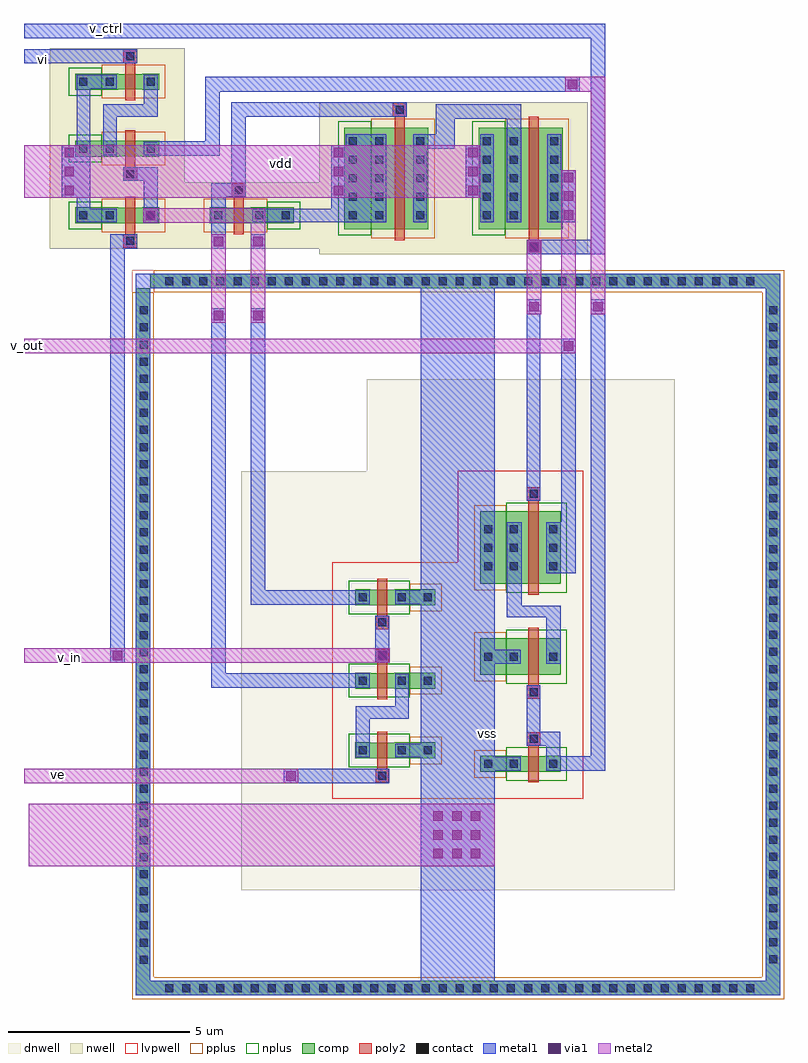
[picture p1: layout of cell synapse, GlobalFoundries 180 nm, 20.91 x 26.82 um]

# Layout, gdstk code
from math import pi, radians
import gdstk
lib = gdstk.Library(unit=1e-6, precision=5e-09)
def R(c, l, rs):  # rectangles x0, y0, x1, y1
    for r in rs: c.add(gdstk.rectangle(r[:2], r[2:], *l))
def A(c, l, x, y, w, h, nx, ny, dx, dy):  # array of equal rectangles
    R(c, l, [(x+i*dx, y+j*dy, x+i*dx+w, y+j*dy+h) for i in range(nx) for j in range(ny)])
def P(c, l, *ps):  # polygons
    for p in ps: c.add(gdstk.Polygon(p, *l))
dnwell = (12, 0)
nwell = (21, 0)
comp = (22, 0)
poly2 = (30, 0)
pplus = (31, 0)
nplus = (32, 0)
contact = (33, 0)
metal1 = (34, 0)
via1 = (35, 0)
metal2 = (36, 0)
lvpwell = (204, 0)

nfet_36_1 = lib.new_cell('nfet$36$1')
R(nfet_36_1, dnwell, [(-3.55,-3.63,4.92,5.26)])
R(nfet_36_1, comp, [(-0.42,0,0,2), (0,0,0.66,2), (0.66,0,1.08,2), (1.08,0,1.79,2)])
R(nfet_36_1, poly2, [(0.15,-0.66,0.51,-0.3), (0.19,-0.3,0.47,2.3)])
R(nfet_36_1, pplus, [(1.08,-0.17,1.96,2.17)])
R(nfet_36_1, nplus, [(-0.59,-0.24,1.08,2.24)])
A(nfet_36_1, contact, -0.32, 0.38, 0.22, 0.22, 1, 3, 0, 0.51)
A(nfet_36_1, contact, 0.76, 0.38, 0.22, 0.22, 1, 3, 0, 0.51)
A(nfet_36_1, contact, 1.47, 0.38, 0.22, 0.22, 1, 3, 0, 0.51)
R(nfet_36_1, contact, [(0.22,-0.59,0.44,-0.37)])
R(nfet_36_1, metal1, [(0.14,-0.67,0.52,-0.29), (-0.4,0.3,-0.02,1.7), (0.68,0.3,1.06,1.7), (1.39,0.3,1.77,1.7)])
R(nfet_36_1, lvpwell, [(-1.04,-1.12,2.41,2.75)])

pfet_20_1 = lib.new_cell('pfet$20$1')
R(pfet_20_1, nwell, [(-1.15,-0.69,2.54,3.49)])
R(pfet_20_1, comp, [(-0.46,0,0,2.8), (0,0,0.66,2.8), (0.66,0,1.12,2.8), (1.12,0,1.85,2.8)])
R(pfet_20_1, poly2, [(0.19,-0.3,0.47,3.1), (0.14,3.1,0.52,3.48)])
R(pfet_20_1, pplus, [(-0.63,-0.24,1.12,3.04)])
R(pfet_20_1, nplus, [(1.12,-0.17,2.02,2.97)])
A(pfet_20_1, contact, -0.34, 0.27, 0.22, 0.22, 1, 5, 0, 0.51)
A(pfet_20_1, contact, 0.78, 0.27, 0.22, 0.22, 1, 5, 0, 0.51)
A(pfet_20_1, contact, 1.51, 0.27, 0.22, 0.22, 1, 5, 0, 0.51)
R(pfet_20_1, contact, [(0.22,3.18,0.44,3.4)])
R(pfet_20_1, metal1, [(-0.42,0.19,-0.04,2.61), (0.7,0.19,1.08,2.61), (1.43,0.19,1.81,2.61), (0.14,3.1,0.52,3.48)])

pfet_21_1 = lib.new_cell('pfet$21$1')
R(pfet_21_1, nwell, [(-1.15,-0.69,2.54,3.49)])
R(pfet_21_1, comp, [(-0.46,0,0,2.8), (0,0,0.66,2.8), (0.66,0,1.12,2.8), (1.12,0,1.85,2.8)])
R(pfet_21_1, poly2, [(0.14,-0.68,0.52,-0.3), (0.19,-0.3,0.47,3.1)])
R(pfet_21_1, pplus, [(-0.63,-0.24,1.12,3.04)])
R(pfet_21_1, nplus, [(1.12,-0.17,2.02,2.97)])
A(pfet_21_1, contact, -0.34, 0.27, 0.22, 0.22, 1, 5, 0, 0.51)
A(pfet_21_1, contact, 0.78, 0.27, 0.22, 0.22, 1, 5, 0, 0.51)
A(pfet_21_1, contact, 1.51, 0.27, 0.22, 0.22, 1, 5, 0, 0.51)
R(pfet_21_1, contact, [(0.22,-0.6,0.44,-0.38)])
R(pfet_21_1, metal1, [(0.14,-0.68,0.52,-0.3), (-0.42,0.19,-0.04,2.61), (0.7,0.19,1.08,2.61), (1.43,0.19,1.81,2.61)])

pfet_22_1 = lib.new_cell('pfet$22$1')
R(pfet_22_1, nwell, [(-1.16,-0.71,2.55,1.13)])
R(pfet_22_1, comp, [(-0.46,-0.01,0,0.43), (0.66,-0.01,1.12,0.43), (1.12,-0.01,1.85,0.43), (0,0,0.66,0.42)])
R(pfet_22_1, poly2, [(0.19,-0.3,0.47,0.72), (0.14,0.72,0.52,1.1)])
R(pfet_22_1, pplus, [(-0.63,-0.25,1.12,0.67)])
R(pfet_22_1, nplus, [(1.12,-0.17,2.02,0.59)])
R(pfet_22_1, contact, [(-0.34,0.1,-0.12,0.32), (0.78,0.1,1,0.32), (1.51,0.1,1.73,0.32), (0.22,0.8,0.44,1.02)])
R(pfet_22_1, metal1, [(-0.42,0.02,-0.04,0.4), (0.7,0.02,1.08,0.4), (1.43,0.02,1.81,0.4), (0.14,0.72,0.52,1.1)])

pfet_23_1 = lib.new_cell('pfet$23$1')
R(pfet_23_1, nwell, [(-1.16,-0.71,2.55,1.13)])
R(pfet_23_1, comp, [(-0.46,-0.01,0,0.43), (0.66,-0.01,1.12,0.43), (1.12,-0.01,1.85,0.43), (0,0,0.66,0.42)])
R(pfet_23_1, poly2, [(0.14,-0.68,0.52,-0.3), (0.19,-0.3,0.47,0.72)])
R(pfet_23_1, pplus, [(-0.63,-0.25,1.12,0.67)])
R(pfet_23_1, nplus, [(1.12,-0.17,2.02,0.59)])
R(pfet_23_1, contact, [(0.22,-0.6,0.44,-0.38), (-0.34,0.1,-0.12,0.32), (0.78,0.1,1,0.32), (1.51,0.1,1.73,0.32)])
R(pfet_23_1, metal1, [(0.14,-0.68,0.52,-0.3), (-0.42,0.02,-0.04,0.4), (0.7,0.02,1.08,0.4), (1.43,0.02,1.81,0.4)])

via_dev_100 = lib.new_cell('via_dev$100')
R(via_dev_100, metal1, [(0,0,0.4,0.4)])
R(via_dev_100, via1, [(0.07,0.07,0.33,0.33)])
R(via_dev_100, metal2, [(0,0,0.4,0.4)])

nfet_37_1 = lib.new_cell('nfet$37$1')
R(nfet_37_1, dnwell, [(-3.55,-3.63,4.92,3.68)])
R(nfet_37_1, comp, [(-0.42,-0.01,0,0.43), (0.66,-0.01,1.08,0.43), (1.08,-0.01,1.79,0.43), (0,0,0.66,0.42)])
R(nfet_37_1, poly2, [(0.15,-0.66,0.51,-0.3), (0.19,-0.3,0.47,0.72)])
R(nfet_37_1, pplus, [(1.08,-0.17,1.96,0.59)])
R(nfet_37_1, nplus, [(-0.59,-0.25,1.08,0.67)])
R(nfet_37_1, contact, [(0.22,-0.59,0.44,-0.37), (-0.32,0.1,-0.1,0.32), (0.76,0.1,0.98,0.32), (1.47,0.1,1.69,0.32)])
R(nfet_37_1, metal1, [(0.14,-0.67,0.52,-0.29), (-0.4,0.02,-0.02,0.4), (0.68,0.02,1.06,0.4), (1.39,0.02,1.77,0.4)])
R(nfet_37_1, lvpwell, [(-1.04,-1.12,2.41,1.17)])

nfet_38_1 = lib.new_cell('nfet$38$1')
R(nfet_38_1, dnwell, [(-3.55,-3.26,4.92,4.63)])
R(nfet_38_1, comp, [(-0.42,0,0,1), (0,0,0.66,1), (0.66,0,1.08,1), (1.08,0,1.79,1)])
R(nfet_38_1, poly2, [(0.19,-0.3,0.47,1.3), (0.15,1.3,0.51,1.66)])
R(nfet_38_1, pplus, [(1.08,-0.17,1.96,1.17)])
R(nfet_38_1, nplus, [(-0.59,-0.24,1.08,1.24)])
R(nfet_38_1, contact, [(-0.32,0.39,-0.1,0.61), (0.76,0.39,0.98,0.61), (1.47,0.39,1.69,0.61), (0.22,1.37,0.44,1.59)])
R(nfet_38_1, metal1, [(-0.4,0.31,-0.02,0.69), (0.68,0.31,1.06,0.69), (1.39,0.31,1.77,0.69), (0.14,1.29,0.52,1.67)])
R(nfet_38_1, lvpwell, [(-1.04,-0.75,2.41,2.12)])

nfet_39_1 = lib.new_cell('nfet$39$1')
R(nfet_39_1, dnwell, [(-3.55,-3.26,4.92,4.05)])
R(nfet_39_1, comp, [(-0.42,-0.01,0,0.43), (0.66,-0.01,1.08,0.43), (1.08,-0.01,1.79,0.43), (0,0,0.66,0.42)])
R(nfet_39_1, poly2, [(0.19,-0.3,0.47,0.72), (0.15,0.72,0.51,1.08)])
R(nfet_39_1, pplus, [(1.08,-0.17,1.96,0.59)])
R(nfet_39_1, nplus, [(-0.59,-0.25,1.08,0.67)])
R(nfet_39_1, contact, [(-0.32,0.1,-0.1,0.32), (0.76,0.1,0.98,0.32), (1.47,0.1,1.69,0.32), (0.22,0.79,0.44,1.01)])
R(nfet_39_1, metal1, [(-0.4,0.02,-0.02,0.4), (0.68,0.02,1.06,0.4), (1.39,0.02,1.77,0.4), (0.14,0.71,0.52,1.09)])
R(nfet_39_1, lvpwell, [(-1.04,-0.75,2.41,1.54)])

synapse = lib.new_cell('synapse')
P(synapse, comp, [(1.12,-10.82),(1.12,9.03),(1.52,9.03),(1.52,-10.42),(18.45,-10.42),(18.45,8.63),(1.12,8.63),(1.12,9.03),(18.85,9.03),(18.85,-10.82)])
P(synapse, pplus, [(1.02,-10.92),(1.02,9.13),(1.62,9.13),(1.62,-10.32),(18.35,-10.32),(18.35,8.53),(1.02,8.53),(1.02,9.13),(18.95,9.13),(18.95,-10.92)])
A(synapse, contact, 1.93, -10.725, 0.22, 0.22, 35, 2, 0.47, 19.445)
A(synapse, contact, 1.225, -9.945, 0.22, 0.22, 1, 39, 0, 0.47)
A(synapse, contact, 18.54, -9.94, 0.22, 0.22, 1, 39, 0, 0.47)
R(synapse, metal1, [(5.185,-4.98,8.09,-4.58), (7.71,-1.67,8.09,-0.37), (11.87,2.79,12.25,8.325), (12.44,10.445,13.22,11.885), (-1.955,14.825,1.16,15.205)])
P(synapse, metal1, [(1.12,-10.82),(1.12,8.63),(1.52,8.63),(1.52,-10.42),(8.96,-10.42),(8.96,-4.27),(8.25,-4.27),(8.25,-3.89),(8.96,-3.89),(8.96,-0.06),(8.25,-0.06),(8.25,0.32),(8.96,0.32),(8.96,8.63),(11,8.63),(11,-1.31),(11.71,-1.31),(11.71,-1.69),(11,-1.69),(11,-4.26),(11.71,-4.26),(11.71,-4.64),(11,-4.64),(11,-10.42),(18.45,-10.42),(18.45,8.63),(1.12,8.63),(1.12,9.03),(18.85,9.03),(18.85,-10.82)],
  [(4.32,10.445),(4.32,10.825),(6.5,10.825),(6.5,12.445),(6.9,12.445),(6.9,12.865),(8.01,12.865),(8.01,10.445)],
  [(0.22,12.665),(0.22,13.695),(1.34,13.695),(1.34,14.505),(1.72,14.505),(1.72,13.345),(0.6,13.345),(0.6,12.665)],
  [(1.34,10.445),(1.34,11.585),(1.16,11.585),(1.16,11.72),(0.78,11.72),(0.78,11.965),(1.72,11.965),(1.72,10.445)],
  [(-0.51,10.445),(-0.51,11.125),(-0.91,11.125),(-0.91,12.44),(-0.51,12.44),(-0.51,14.505),(0.6,14.505),(0.6,14.125),(-0.13,14.125),(-0.13,10.825),(0.6,10.825),(0.6,10.445)],
  [(0.42,-1.27),(0.42,10.125),(1.16,10.125),(1.16,9.725),(0.82,9.725),(0.82,-1.27)],
  [(11.32,10.445),(11.32,13.295),(9.89,13.295),(9.89,12.465),(8.75,12.465),(8.75,12.865),(9.375,12.865),(9.375,13.695),(11.72,13.695),(11.72,10.445)],
  [(3.2,-2.36),(3.2,7.685),(3.6,7.685),(3.6,-1.96),(7.56,-1.96),(7.56,-2.36)],
  [(3.2,9.725),(3.2,11.525),(3.74,11.525),(3.74,13.745),(8.57,13.745),(8.57,13.345),(4.14,13.345),(4.14,11.145),(3.6,11.145),(3.6,9.725)],
  [(4.28,-0.07),(4.28,7.685),(4.68,7.685),(4.68,0.33),(7.17,0.33),(7.17,-0.07)],
  [(1.72,12.275),(1.72,12.675),(3.035,12.675),(3.035,14.445),(13.335,14.445),(13.335,14.045),(3.435,14.045),(3.435,12.275)],
  [(12.27,9.565),(12.27,9.965),(13.635,9.965),(13.635,15.505),(-1.955,15.505),(-1.955,15.905),(14.035,15.905),(14.035,9.565)],
  [(12.41,-4.64),(12.41,-3.95),(11.87,-3.95),(11.87,-2.29),(12.25,-2.29),(12.25,-3.565),(12.79,-3.565),(12.79,-4.24),(13.635,-4.24),(13.635,7.925),(14.035,7.925),(14.035,-4.64)],
  [(10.59,11.005),(10.59,11.125),(10.19,11.125),(10.19,12.445),(10.97,12.445),(10.97,11.005)],
  [(12.41,-1.69),(12.41,-0.41),(11.33,-0.41),(11.33,2.2),(11.73,2.2),(11.73,-0.095),(12.81,-0.095),(12.81,-1.69)],
  [(12.41,0.8),(12.41,2.2),(12.82,2.2),(12.82,7.25),(13.22,7.25),(13.22,0.8)],
  [(7.17,-3.89),(7.17,-2.86),(8.25,-2.86),(8.25,-2.35),(8.63,-2.35),(8.63,-3.21),(7.55,-3.21),(7.55,-3.89)])
R(synapse, metal2, [(-1.82,-7.26,11,-5.55), (-1.955,-4.98,5.585,-4.58), (-1.955,-1.67,8.1,-1.27), (11.87,7.925,12.27,9.965), (3.2,8.085,3.6,10.125)])
P(synapse, metal2, [(4.28,8.085),(4.28,10.435),(1.73,10.435),(1.73,10.835),(4.68,10.835),(4.68,8.085)],
  [(13.635,8.215),(13.635,14.045),(13.335,14.045),(13.335,14.445),(14.035,14.445),(14.035,8.215)],
  [(-1.955,6.85),(-1.955,7.25),(12.82,7.25),(12.82,11.885),(13.22,11.885),(13.22,6.85)],
  [(-1.955,11.125),(-1.955,12.56),(-0.91,12.56),(-0.91,12.565),(10.59,12.565),(10.59,11.125)])
synapse.add(gdstk.Reference(nfet_36_1, (12.39,2.5), rotation=pi))
synapse.add(gdstk.Reference(pfet_20_1, (12.4,13.055), rotation=pi))
synapse.add(gdstk.Reference(pfet_21_1, (8.71,13.055), rotation=pi))
synapse.add(gdstk.Reference(pfet_22_1, (3.62,10.425)))
synapse.add(gdstk.Reference(pfet_22_1, (1.3,12.685), rotation=pi))
synapse.add(gdstk.Reference(pfet_23_1, (1.3,14.525), rotation=pi))
synapse.add(gdstk.Reference(pfet_22_1, (1.3,10.845), rotation=pi))
r = gdstk.Reference(via_dev_100, (6.5,11.125)); r.repetition = gdstk.Repetition(1, 3, v1=(0,0), v2=(0,0.52)); synapse.add(r)
r = gdstk.Reference(via_dev_100, (13.22,11.885), rotation=pi); r.repetition = gdstk.Repetition(1, 3, v1=(0,0), v2=(0,-0.52)); synapse.add(r)
r = gdstk.Reference(via_dev_100, (10.19,11.125)); r.repetition = gdstk.Repetition(1, 3, v1=(0,0), v2=(0,0.52)); synapse.add(r)
synapse.add(gdstk.Reference(via_dev_100, (11.87,9.565)))
synapse.add(gdstk.Reference(via_dev_100, (11.87,7.925)))
synapse.add(gdstk.Reference(via_dev_100, (12.82,6.85)))
synapse.add(gdstk.Reference(via_dev_100, (3.2,9.725)))
synapse.add(gdstk.Reference(via_dev_100, (3.2,7.685)))
synapse.add(gdstk.Reference(nfet_37_1, (12.39,-4.24), rotation=pi))
synapse.add(gdstk.Reference(nfet_38_1, (12.39,-1), rotation=pi))
synapse.add(gdstk.Reference(via_dev_100, (5.185,-4.98)))
synapse.add(gdstk.Reference(nfet_39_1, (7.57,-2.37)))
synapse.add(gdstk.Reference(via_dev_100, (7.7,-1.67)))
synapse.add(gdstk.Reference(nfet_37_1, (7.57,-0.08)))
synapse.add(gdstk.Reference(nfet_37_1, (7.57,-4.29)))
synapse.add(gdstk.Reference(via_dev_100, (0.42,-1.67)))
synapse.add(gdstk.Reference(via_dev_100, (4.28,7.685)))
synapse.add(gdstk.Reference(via_dev_100, (4.28,9.725)))
synapse.add(gdstk.Reference(via_dev_100, (1.33,10.435)))
synapse.add(gdstk.Reference(via_dev_100, (13.635,7.925)))
synapse.add(gdstk.Reference(via_dev_100, (12.935,14.045)))
r = gdstk.Reference(via_dev_100, (-0.91,11.125)); r.repetition = gdstk.Repetition(1, 3, v1=(0,0), v2=(0,0.52)); synapse.add(r)
r = gdstk.Reference(via_dev_100, (9.23,-7.12)); r.repetition = gdstk.Repetition(3, 3, v1=(0.52,0), v2=(0,0.52)); synapse.add(r)
synapse.add(gdstk.Label('vi', (-1.455,14.935), layer=34, texttype=10))
synapse.add(gdstk.Label('v_ctrl', (0.32,15.79), layer=34, texttype=10))
synapse.add(gdstk.Label('vss', (10.785,-3.605), layer=34, texttype=10))
synapse.add(gdstk.Label('v_in', (-0.705,-1.51), layer=36, texttype=10))
synapse.add(gdstk.Label('ve', (-1.045,-4.745), layer=36, texttype=10))
synapse.add(gdstk.Label('vdd', (5.12,12.065), layer=36, texttype=10))
synapse.add(gdstk.Label('v_out', (-1.87,7.055), layer=36, texttype=10))

lib.write_gds('synapse.gds')
